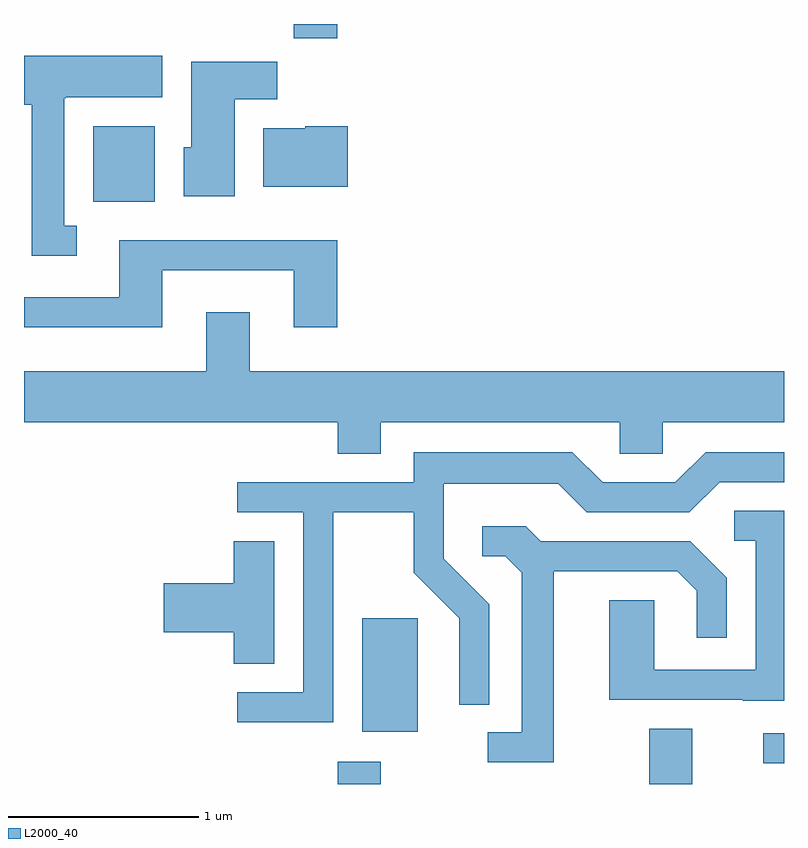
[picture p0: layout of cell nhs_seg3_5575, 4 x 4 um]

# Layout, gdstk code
import gdstk
lib = gdstk.Library(unit=1e-6, precision=1e-09)
def R(c, l, rs):  # rectangles x0, y0, x1, y1
    for r in rs: c.add(gdstk.rectangle(r[:2], r[2:], *l))
def P(c, l, *ps):  # polygons
    for p in ps: c.add(gdstk.Polygon(p, *l))
L2000_40 = (2000, 40)

nhs_seg3_5575 = lib.new_cell('nhs_seg3_5575')
R(nhs_seg3_5575, L2000_40, [(351.261,1121.892,351.489,1122.009), (352.901,1121.892,353.129,1122.184), (353.503,1122.001,353.611,1122.159), (351.391,1122.166,351.684,1122.764), (349.976,1124.956,350.299,1125.354), (351.031,1125.816,351.259,1125.892)])
P(nhs_seg3_5575, L2000_40, [(349.888,1124.829),(349.824,1124.829),(349.824,1125.5),(349.83,1125.5),(349.83,1125.506),(350.339,1125.506),(350.339,1125.724),(349.611,1125.724),(349.611,1125.466),(349.651,1125.466),(349.651,1124.671),(349.888,1124.671)],
  [(350.719,1125.496),(350.944,1125.496),(350.944,1125.694),(350.491,1125.694),(350.491,1125.244),(350.451,1125.244),(350.451,1124.986),(350.719,1124.986)],
  [(351.314,1125.354),(351.09,1125.354),(351.09,1125.344),(350.871,1125.344),(350.871,1125.036),(351.314,1125.036)],
  [(350.339,1124.596),(351.031,1124.596),(351.031,1124.296),(351.259,1124.296),(351.259,1124.754),(350.111,1124.754),(350.111,1124.454),(349.611,1124.454),(349.611,1124.296),(350.339,1124.296)],
  [(351.489,1123.796),(352.746,1123.796),(352.746,1123.631),(352.974,1123.631),(352.974,1123.796),(353.611,1123.796),(353.611,1124.064),(350.799,1124.064),(350.799,1124.374),(350.571,1124.374),(350.571,1124.064),(349.611,1124.064),(349.611,1123.796),(351.261,1123.796),(351.261,1123.631),(351.489,1123.631)],
  [(351.239,1123.321),(351.661,1123.321),(351.661,1123.004),(351.901,1122.764),(351.901,1122.308),(352.059,1122.308),(352.059,1122.837),(351.819,1123.077),(351.819,1123.471),(352.424,1123.471),(352.574,1123.321),(353.112,1123.321),(353.272,1123.481),(353.611,1123.481),(353.611,1123.639),(353.199,1123.639),(353.039,1123.479),(352.657,1123.479),(352.497,1123.639),(351.661,1123.639),(351.661,1123.479),(350.733,1123.479),(350.733,1123.321),(351.081,1123.321),(351.081,1122.374),(350.733,1122.374),(350.733,1122.216),(351.239,1122.216)],
  [(353.611,1123.329),(353.348,1123.329),(353.348,1123.171),(353.461,1123.171),(353.461,1122.494),(352.929,1122.494),(352.929,1122.859),(352.691,1122.859),(352.691,1122.336),(353.395,1122.336),(353.395,1122.331),(353.611,1122.331)],
  [(352.399,1123.011),(353.049,1123.011),(353.151,1122.909),(353.151,1122.663),(353.309,1122.663),(353.309,1122.977),(353.117,1123.169),(352.332,1123.169),(352.252,1123.249),(352.023,1123.249),(352.023,1123.091),(352.144,1123.091),(352.231,1123.004),(352.231,1122.164),(352.053,1122.164),(352.053,1122.006),(352.399,1122.006)],
  [(350.929,1123.169),(350.716,1123.169),(350.716,1122.949),(350.346,1122.949),(350.346,1122.691),(350.716,1122.691),(350.716,1122.526),(350.929,1122.526)])

lib.write_gds('nhs_seg3_5575.gds')
